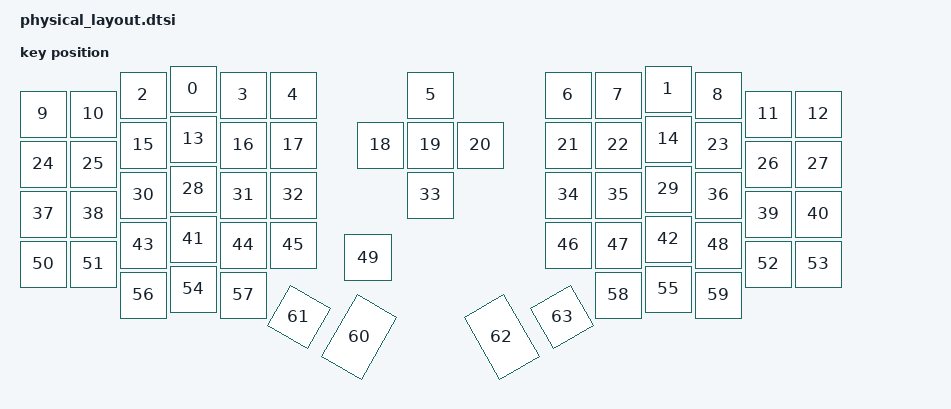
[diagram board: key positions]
#include <physical_layouts.dtsi>

/ {
    sofle_layout: sofle_layout {
        compatible = "zmk,physical-layout";
        display-name = "matrix layout";
        keys  //                     w   h    x    y     rot    rx    ry
            = <&key_physical_attrs 100 100  450   13       0     0     0>
            , <&key_physical_attrs 100 100 1400   13       0     0     0>
            , <&key_physical_attrs 100 100  350   25       0     0     0>
            , <&key_physical_attrs 100 100  550   25       0     0     0>
            , <&key_physical_attrs 100 100  650   25       0     0     0>
            , <&key_physical_attrs 100 100  925   25       0     0     0>
            , <&key_physical_attrs 100 100 1200   25       0     0     0>
            , <&key_physical_attrs 100 100 1300   25       0     0     0>
            , <&key_physical_attrs 100 100 1500   25       0     0     0>
            , <&key_physical_attrs 100 100  150   63       0     0     0>
            , <&key_physical_attrs 100 100  250   63       0     0     0>
            , <&key_physical_attrs 100 100 1600   63       0     0     0>
            , <&key_physical_attrs 100 100 1700   63       0     0     0>
            , <&key_physical_attrs 100 100  450  113       0     0     0>
            , <&key_physical_attrs 100 100 1400  113       0     0     0>
            , <&key_physical_attrs 100 100  350  125       0     0     0>
            , <&key_physical_attrs 100 100  550  125       0     0     0>
            , <&key_physical_attrs 100 100  650  125       0     0     0>
            , <&key_physical_attrs 100 100  825  125       0     0     0>
            , <&key_physical_attrs 100 100  925  125       0     0     0>
            , <&key_physical_attrs 100 100 1025  125       0     0     0>
            , <&key_physical_attrs 100 100 1200  125       0     0     0>
            , <&key_physical_attrs 100 100 1300  125       0     0     0>
            , <&key_physical_attrs 100 100 1500  125       0     0     0>
            , <&key_physical_attrs 100 100  150  163       0     0     0>
            , <&key_physical_attrs 100 100  250  163       0     0     0>
            , <&key_physical_attrs 100 100 1600  163       0     0     0>
            , <&key_physical_attrs 100 100 1700  163       0     0     0>
            , <&key_physical_attrs 100 100  450  213       0     0     0>
            , <&key_physical_attrs 100 100 1400  213       0     0     0>
            , <&key_physical_attrs 100 100  350  225       0     0     0>
            , <&key_physical_attrs 100 100  550  225       0     0     0>
            , <&key_physical_attrs 100 100  650  225       0     0     0>
            , <&key_physical_attrs 100 100  925  225       0     0     0>
            , <&key_physical_attrs 100 100 1200  225       0     0     0>
            , <&key_physical_attrs 100 100 1300  225       0     0     0>
            , <&key_physical_attrs 100 100 1500  225       0     0     0>
            , <&key_physical_attrs 100 100  150  263       0     0     0>
            , <&key_physical_attrs 100 100  250  263       0     0     0>
            , <&key_physical_attrs 100 100 1600  263       0     0     0>
            , <&key_physical_attrs 100 100 1700  263       0     0     0>
            , <&key_physical_attrs 100 100  450  313       0     0     0>
            , <&key_physical_attrs 100 100 1400  313       0     0     0>
            , <&key_physical_attrs 100 100  350  325       0     0     0>
            , <&key_physical_attrs 100 100  550  325       0     0     0>
            , <&key_physical_attrs 100 100  650  325       0     0     0>
            , <&key_physical_attrs 100 100 1200  325       0     0     0>
            , <&key_physical_attrs 100 100 1300  325       0     0     0>
            , <&key_physical_attrs 100 100 1500  325       0     0     0>
            , <&key_physical_attrs 100 100  800  350       0     0     0>
            , <&key_physical_attrs 100 100  150  363       0     0     0>
            , <&key_physical_attrs 100 100  250  363       0     0     0>
            , <&key_physical_attrs 100 100 1600  363       0     0     0>
            , <&key_physical_attrs 100 100 1700  363       0     0     0>
            , <&key_physical_attrs 100 100  450  413       0     0     0>
            , <&key_physical_attrs 100 100 1400  413       0     0     0>
            , <&key_physical_attrs 100 100  350  425       0     0     0>
            , <&key_physical_attrs 100 100  550  425       0     0     0>
            , <&key_physical_attrs 100 100 1300  425       0     0     0>
            , <&key_physical_attrs 100 100 1500  425       0     0     0>
            , <&key_physical_attrs 100 150  825  375    3000   650   425>
            , <&key_physical_attrs 100 100  700  425    3000   650   425>
            , <&key_physical_attrs 100 150 1025  375 (-3000)  1300   425>
            , <&key_physical_attrs 100 100 1150  425 (-3000)  1300   425>
            ;
    };
};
